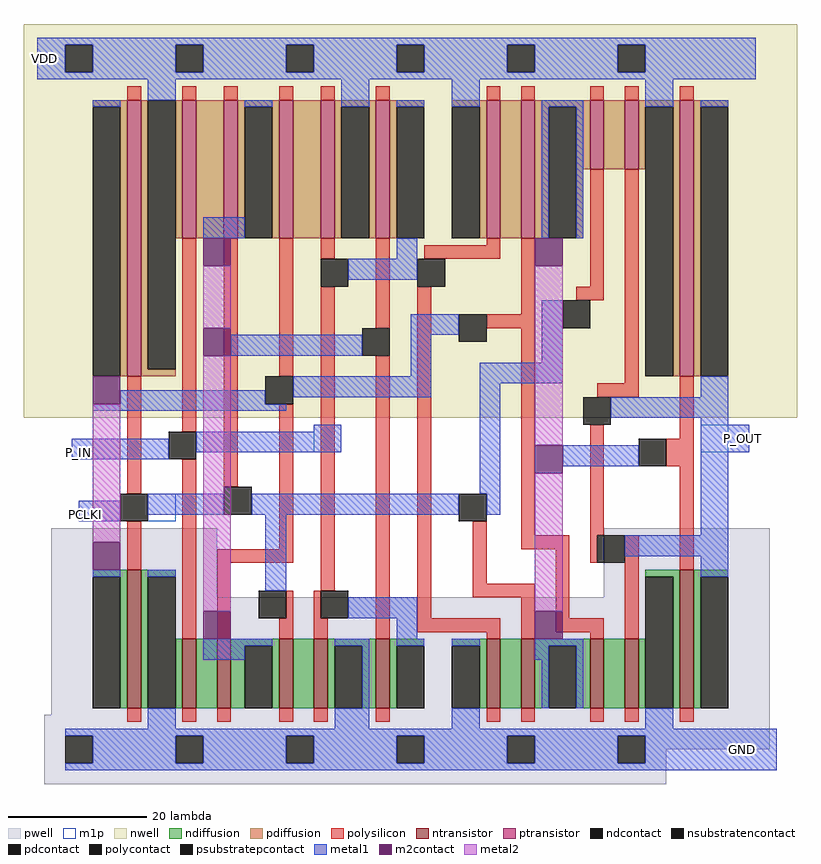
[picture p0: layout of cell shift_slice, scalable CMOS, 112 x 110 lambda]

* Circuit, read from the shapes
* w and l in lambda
.subckt shift_slice GND PCLKI P_IN P_OUT VDD
M1 GND PCLKI n1 GND nfet w=20 l=2
M2 n2 P_IN GND GND nfet w=10 l=2
M3 n3 n1 n2 GND nfet w=10 l=2
M4 n4 PCLKI n3 GND nfet w=10 l=2
M5 GND n5 n4 GND nfet w=10 l=2
M6 n5 n3 GND GND nfet w=10 l=2
M7 n6 n5 GND GND nfet w=10 l=2
M8 n7 PCLKI n6 GND nfet w=10 l=2
M9 n8 n1 n7 GND nfet w=10 l=2
M10 GND P_OUT n8 GND nfet w=10 l=2
M11 P_OUT n7 GND GND nfet w=20 l=2
M12 VDD PCLKI n1 VDD pfet w=40 l=2
M13 n9 P_IN VDD VDD pfet w=20 l=2
M14 n3 PCLKI n9 VDD pfet w=20 l=2
M15 n10 n1 n3 VDD pfet w=20 l=2
M16 VDD n5 n10 VDD pfet w=20 l=2
M17 n5 n3 VDD VDD pfet w=20 l=2
M18 n11 n5 VDD VDD pfet w=20 l=2
M19 n7 n1 n11 VDD pfet w=20 l=2
M20 n12 PCLKI n7 VDD pfet w=10 l=2
M21 VDD P_OUT n12 VDD pfet w=10 l=2
M22 P_OUT n7 VDD VDD pfet w=40 l=2
.ends

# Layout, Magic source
magic
tech scmos
<< metal1 >>
rect 2 100 6 106
rect 7 45 21 48
rect 102 46 105 50
rect 8 36 14 39
rect 103 0 109 6
use DFFPOSX1  DFFPOSX1_0
transform 1 0 8 0 1 3
box -8 -5 104 105
<< labels >>
rlabel metal1 3 103 3 103 6 VDD
rlabel metal1 8 46 8 46 6 P_IN
rlabel metal1 9 37 9 37 6 PCLKI
rlabel metal1 104 48 104 48 6 P_OUT
rlabel metal1 104 3 104 3 6 GND
<< end >>

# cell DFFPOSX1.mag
magic
tech scmos
<< nwell >>
rect -8 48 104 105
<< pwell >>
rect -4 22 20 32
rect 76 22 100 32
rect -4 5 100 22
rect -5 0 100 5
rect -5 -5 85 0
<< ntransistor >>
rect 7 6 9 26
rect 15 6 17 16
rect 20 6 22 16
rect 29 6 31 16
rect 34 6 36 16
rect 43 6 45 16
rect 59 6 61 16
rect 64 6 66 16
rect 74 6 76 16
rect 79 6 81 16
rect 87 6 89 26
<< ptransistor >>
rect 7 54 9 94
rect 15 74 17 94
rect 21 74 23 94
rect 29 74 31 94
rect 35 74 37 94
rect 43 74 45 94
rect 59 74 61 94
rect 64 74 66 94
rect 74 84 76 94
rect 79 84 81 94
rect 87 54 89 94
<< ndiffusion >>
rect 2 25 7 26
rect 6 6 7 25
rect 9 25 14 26
rect 9 6 10 25
rect 82 25 87 26
rect 14 6 15 16
rect 17 6 20 16
rect 22 15 29 16
rect 22 6 24 15
rect 28 6 29 15
rect 31 6 34 16
rect 36 15 43 16
rect 36 6 37 15
rect 41 6 43 15
rect 45 15 50 16
rect 45 6 46 15
rect 54 15 59 16
rect 58 6 59 15
rect 61 6 64 16
rect 66 15 74 16
rect 66 6 68 15
rect 72 6 74 15
rect 76 6 79 16
rect 81 6 82 16
rect 86 6 87 25
rect 89 25 94 26
rect 89 6 90 25
<< pdiffusion >>
rect 2 93 7 94
rect 6 54 7 93
rect 9 55 10 94
rect 14 74 15 94
rect 17 74 21 94
rect 23 93 29 94
rect 23 74 24 93
rect 28 74 29 93
rect 31 74 35 94
rect 37 93 43 94
rect 37 74 38 93
rect 42 74 43 93
rect 45 93 50 94
rect 45 74 46 93
rect 54 93 59 94
rect 58 74 59 93
rect 61 74 64 94
rect 66 93 74 94
rect 66 74 68 93
rect 72 84 74 93
rect 76 84 79 94
rect 81 93 87 94
rect 81 84 82 93
rect 72 74 73 84
rect 9 54 14 55
rect 86 54 87 93
rect 89 93 94 94
rect 89 54 90 93
<< ndcontact >>
rect 2 6 6 25
rect 10 6 14 25
rect 24 6 28 15
rect 37 6 41 15
rect 46 6 50 15
rect 54 6 58 15
rect 68 6 72 15
rect 82 6 86 25
rect 90 6 94 25
<< pdcontact >>
rect 2 54 6 93
rect 10 55 14 94
rect 24 74 28 93
rect 38 74 42 93
rect 46 74 50 93
rect 54 74 58 93
rect 68 74 72 93
rect 82 54 86 93
rect 90 54 94 93
<< psubstratepcontact >>
rect -2 -2 2 2
rect 14 -2 18 2
rect 30 -2 34 2
rect 46 -2 50 2
rect 62 -2 66 2
rect 78 -2 82 2
<< nsubstratencontact >>
rect -2 98 2 102
rect 14 98 18 102
rect 30 98 34 102
rect 46 98 50 102
rect 62 98 66 102
rect 78 98 82 102
<< polysilicon >>
rect 7 94 9 96
rect 15 94 17 96
rect 21 94 23 96
rect 29 94 31 96
rect 35 94 37 96
rect 43 94 45 96
rect 59 94 61 96
rect 64 94 66 96
rect 74 94 76 96
rect 79 94 81 96
rect 87 94 89 96
rect 7 37 9 54
rect 15 46 17 74
rect 7 26 9 33
rect 15 16 17 42
rect 21 38 23 74
rect 29 54 31 74
rect 29 29 31 50
rect 20 27 31 29
rect 35 71 37 74
rect 20 16 22 27
rect 35 23 37 67
rect 43 61 45 74
rect 59 73 61 74
rect 50 71 61 73
rect 30 19 31 23
rect 29 16 31 19
rect 34 19 35 23
rect 34 16 36 19
rect 43 16 45 57
rect 49 19 51 67
rect 64 63 66 74
rect 74 67 76 84
rect 72 65 76 67
rect 59 61 66 63
rect 57 24 59 33
rect 64 31 66 61
rect 79 53 81 84
rect 75 51 81 53
rect 74 31 76 47
rect 87 45 89 54
rect 85 41 89 45
rect 64 29 71 31
rect 57 22 66 24
rect 49 17 61 19
rect 59 16 61 17
rect 64 16 66 22
rect 69 19 71 29
rect 74 27 75 31
rect 69 17 76 19
rect 74 16 76 17
rect 79 16 81 31
rect 87 26 89 41
rect 7 4 9 6
rect 15 4 17 6
rect 20 4 22 6
rect 29 4 31 6
rect 34 4 36 6
rect 43 4 45 6
rect 59 4 61 6
rect 64 4 66 6
rect 74 4 76 6
rect 79 4 81 6
rect 87 4 89 6
<< polycontact >>
rect 13 42 17 46
rect 6 33 10 37
rect 27 50 31 54
rect 21 34 25 38
rect 35 67 39 71
rect 41 57 45 61
rect 26 19 30 23
rect 35 19 39 23
rect 49 67 53 71
rect 55 59 59 63
rect 70 61 74 65
rect 55 33 59 37
rect 73 47 77 51
rect 81 41 85 45
rect 75 27 79 31
<< metal1 >>
rect -2 102 98 103
rect 2 98 14 102
rect 18 98 30 102
rect 34 98 46 102
rect 50 98 62 102
rect 66 98 78 102
rect 82 98 98 102
rect -2 97 98 98
rect 10 94 14 97
rect 2 93 6 94
rect 24 93 28 94
rect 18 74 24 77
rect 38 93 42 97
rect 46 93 50 94
rect 54 93 58 97
rect 67 93 73 94
rect 67 74 68 93
rect 72 74 73 93
rect 82 93 86 97
rect 46 71 49 74
rect 39 68 49 71
rect 22 57 41 60
rect 48 60 55 63
rect 48 54 51 60
rect 67 56 70 65
rect 6 50 27 52
rect 31 51 51 54
rect 58 53 70 56
rect 90 93 94 94
rect 2 49 30 50
rect 34 46 38 47
rect 17 43 38 46
rect 10 34 21 37
rect 58 37 61 53
rect 90 51 94 54
rect 77 48 94 51
rect 70 41 81 44
rect 25 34 55 37
rect 2 25 6 26
rect 10 25 14 26
rect 27 23 30 34
rect 59 34 61 37
rect 90 31 94 48
rect 79 28 94 31
rect 90 25 94 28
rect 39 19 49 22
rect 46 16 49 19
rect 18 15 28 16
rect 18 13 24 15
rect 37 15 42 16
rect 41 6 42 15
rect 46 15 50 16
rect 54 15 58 16
rect 66 15 73 16
rect 66 13 68 15
rect 67 6 68 13
rect 72 6 73 15
rect 10 3 14 6
rect 37 3 42 6
rect 54 3 58 6
rect 82 3 86 6
rect -2 2 98 3
rect 2 -2 14 2
rect 18 -2 30 2
rect 34 -2 46 2
rect 50 -2 62 2
rect 66 -2 78 2
rect 82 -2 98 2
rect -2 -3 98 -2
<< m2contact >>
rect 18 70 22 74
rect 66 70 70 74
rect 18 57 22 61
rect 2 50 6 54
rect 66 40 70 44
rect 2 26 6 30
rect 18 16 22 20
rect 66 16 70 20
<< metal2 >>
rect 18 61 22 70
rect 2 30 6 50
rect 18 20 22 57
rect 66 44 70 70
rect 66 20 70 40
<< m1p >>
rect 34 43 38 47
rect 90 43 94 47
rect 10 33 14 37
<< labels >>
rlabel metal1 4 100 4 100 6 vdd
rlabel m1p 36 45 36 45 6 D
rlabel metal1 4 0 4 0 8 gnd
rlabel m1p 92 45 92 45 6 Q
rlabel m1p 12 35 12 35 6 CLK
<< end >>
